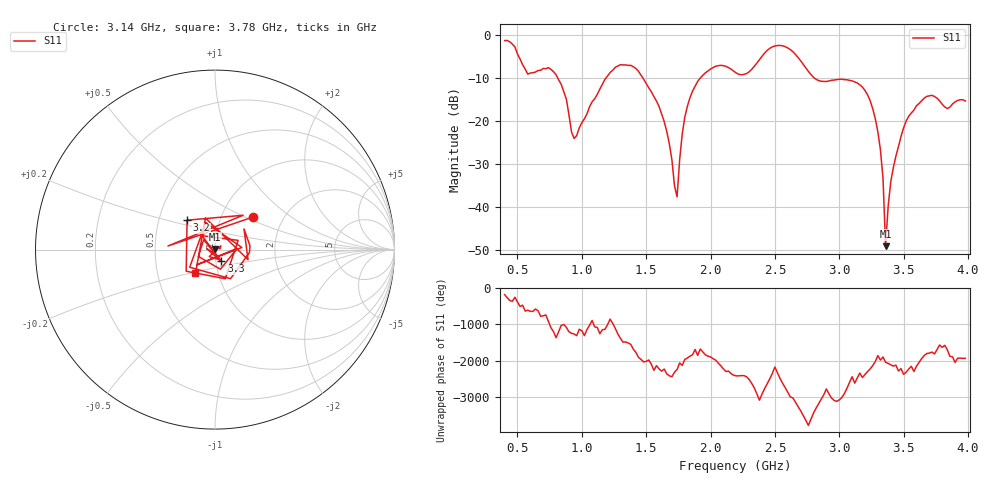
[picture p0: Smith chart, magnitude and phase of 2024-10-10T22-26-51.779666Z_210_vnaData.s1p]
! Created with skrf (http://scikit-rf.org).
# Hz S RI R 50.0
!freq ReS11 ImS11
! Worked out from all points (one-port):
!   180 points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, 400 MHz to 3.98 GHz, reference 50 ohm
!   lowest |S11| = -49.1 dB at 3.36 GHz (marker M1), VSWR 1.01, Z = 49.9 + j0.324 ohm
!   |S11| at or under -10 dB: 812.4 MHz to 1.188 GHz (375.5 MHz wide, 37.5 % of centre); 1.474 GHz to 1.921 GHz (446.9 MHz wide, 26.3 % of centre); 2.806 GHz to end of sweep
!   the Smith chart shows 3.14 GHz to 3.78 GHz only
!   S11 on the Smith chart (normalised r, x): 3.14 GHz: 1.40, +0.55; 3.2 GHz: 0.70, +0.24; 3.3 GHz: 1.06, -0.14; 3.78 GHz: 0.78, -0.21
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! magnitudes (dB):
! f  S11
! 400 MHz  -1.3
! 580 MHz  -9.1
! 740 MHz  -7.6
! 860 MHz  -13.2
! 940 MHz  -24.1
! 1.3 GHz  -6.9
! 1.44 GHz  -8.5
! 1.6 GHz  -16.6
! 1.68 GHz  -25.4
! 1.74 GHz  -37.6
! 1.76 GHz  -29.0
! 1.8 GHz  -19.1
! 1.9 GHz  -10.8
! 2.06 GHz  -7.1
! 2.2 GHz  -8.9
! 2.48 GHz  -2.8
! 2.64 GHz  -3.9
! 2.84 GHz  -10.6
! 3.1 GHz  -10.7
! 3.14 GHz  -11.2
! 3.2 GHz  -12.9
! 3.3 GHz  -22.5
! 3.34 GHz  -33.4
! 3.36 GHz  -49.1
! 3.4 GHz  -34.2
! 3.54 GHz  -18.9
! 3.78 GHz  -15.3
! 3.98 GHz  -15.4
